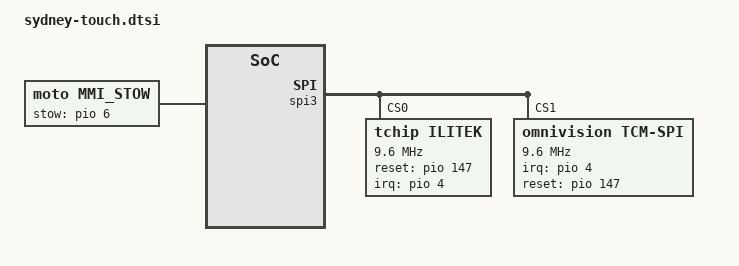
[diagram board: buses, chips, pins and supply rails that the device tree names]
// SPDX-License-Identifier: (GPL-2.0 OR MIT)
/*
 * Copyright (c) 2024, Motorola Mobility Inc. All rights reserved.
*/

&spi3 {
	status = "okay";
	#address-cells = <1>;
	#size-cells = <0>;
	mediatek,pad-select = <0>, <1>;
	ilitek@0 {
                compatible = "tchip,ilitek";
                reg = <0>; //Same as CS ID
                status = "ok";
                spi-max-frequency = <9600000>;
		interrupt-parent = <&pio>;
                touch,reset-gpio = <&pio 147 0x0>;
                touch,irq-gpio = <&pio 4 0x0>;
		touch,psy-name = "battery";
                ilitek,report_gesture_key;
                ilitek,supported_gesture_type = <0x06>;
	};

	omnivision@1 {
		compatible = "omnivision,tcm-spi";
		reg = <1>; //Same as CS ID
		status = "ok";
		spi-max-frequency = <9600000>;
		interrupt-parent = <&pio>;
		interrupts = <4 0x2008>;
		omnivision,irq-gpio = <&pio 4 0x00>;
		omnivision,irq-on-state = <0>;
		omnivision,reset-gpio = <&pio 147 0x00>;
		omnivision,reset-on-state = <0>;
		omnivision,reset-active-ms = <20>;
		omnivision,reset-delay-ms = <200>;
		omnivision,power-delay-ms = <200>;
		omnivision,spi-mode = <3>;
		omnivision,byte-delay-us = <0>;
		omnivision,block-delay-us = <0>;
		omnivision,ubl-max-freq = <3000000>;
		omnivision,ubl-byte-delay-us = <20>;
		omnivision,supported_gesture_type = <0x06>;
        };

};
&odm {
	mmi_stow: mmi_stow {
		compatible = "moto,mmi_stow";
		mmi,stow-gpio = <&pio 6 0x0>;
	};
};

/* TOUCH end */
